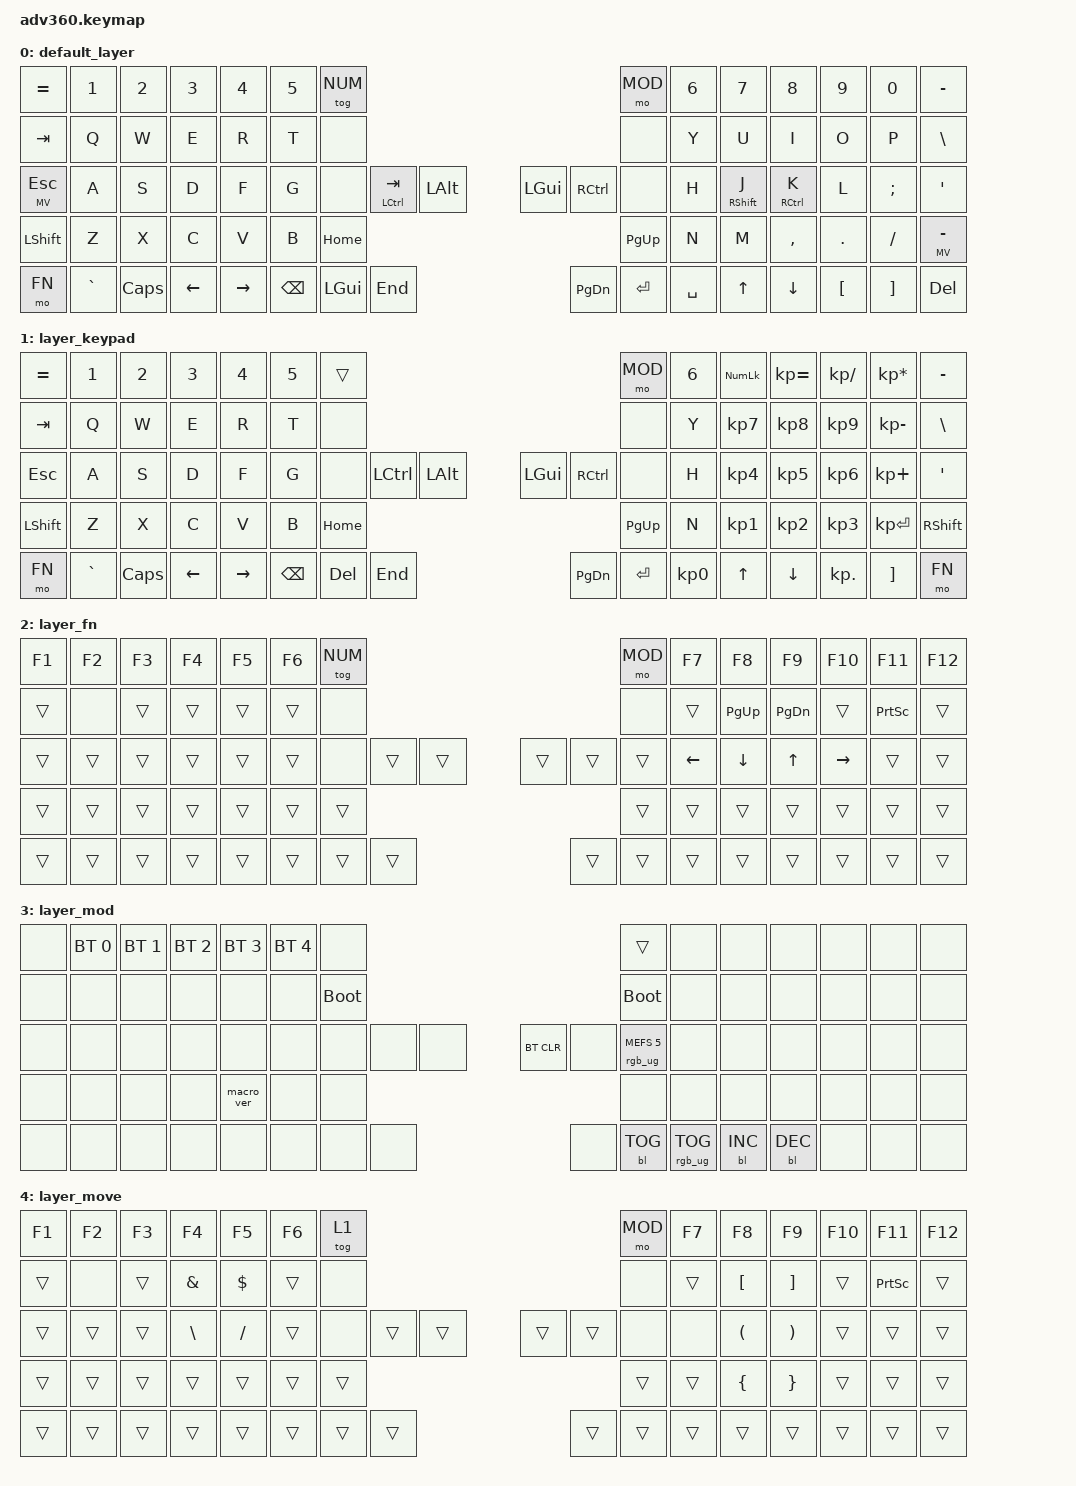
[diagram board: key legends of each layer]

/*
 * Copyright (c) 2020 The ZMK Contributors
 *
 * SPDX-License-Identifier: MIT
 */


/* THIS FILE WAS GENERATED!
 *
 * This file was generated automatically. You may or may not want to
 * edit it directly.
 */

#include <behaviors.dtsi>
#include <dt-bindings/zmk/keys.h>
#include <dt-bindings/zmk/bt.h>
#include <dt-bindings/zmk/rgb.h>
#include <dt-bindings/zmk/backlight.h>

// Configure the global tapping term (default: 200ms)
#define TAPPING_TERM 150

// Enable rapid switch from tap to hold, disables double tap hold auto-repeat.
#define QUICK_TAP_TERM 0


#define HYP(key) LG(key)
#define HYPR(key) LS(LC(LA(LG(key))))
#define SUPER  LGUI

/* Layer references  */
#define DEFAULT 0
#define NUM 1
#define FN 2
#define MOD 3
#define MV 4

// Base Layer home row mods
#define A_LGUI     &hm LGUI A
#define S_LALT     &hm LALT S
#define D_LCTRL    &hm LCTRL D
#define F_LSHFT    &hm LSHFT F
#define J_RSHFT    &hm RSHFT J
#define K_RCTRL    &hm RCTRL K
#define L_RALT     &hm RALT L
#define SEMI_RGUI  &hm RGUI SEMI

// Thumb cluster specials
#define TAB_LCTRL  &mt LCTRL TAB
#define ESC_MV     &mtkp MV ESC 
#define MIN_MV     &mtkp MV MINUS

/ {
  behaviors {
    #include "macros.dtsi"
    #include "version.dtsi"

    hm: homerow_mods {
        compatible = "zmk,behavior-hold-tap";
        label = "HOMEROW_MODS";
        #binding-cells = <2>;
        tapping-term-ms = <TAPPING_TERM>;
        quick_tap_ms = <QUICK_TAP_TERM>;
        #flavor = "tap-preferred";
        flavor = "balanced";
        bindings = <&kp>, <&kp>;
    };

    mtkp: mod_tap_key_press {
        compatible = "zmk,behavior-hold-tap";
        #binding-cells = <2>;
        tapping-term-ms = <TAPPING_TERM>;
        quick_tap_ms = <QUICK_TAP_TERM>;
        flavor = "tap-preferred";
        bindings = <&mo>, <&kp>;
    }; 
  };

  keymap {
      compatible = "zmk,keymap";

      default_layer {
          bindings = <
&kp EQUAL     &kp N1    &kp N2    &kp N3     &kp N4     &kp N5      &tog NUM                                                                   &mo MOD   &kp N6    &kp N7       &kp N8        &kp N9    &kp N0     &kp MINUS
&kp TAB       &kp Q     &kp W     &kp E      &kp R      &kp T       &none                                                                      &none     &kp Y     &kp U        &kp I         &kp O     &kp P      &kp BSLH
    ESC_MV    &kp A     &kp S     &kp D      &kp F      &kp G       &none         TAB_LCTRL  &kp LALT                   &kp LGUI   &kp RCTRL   &none     &kp H         J_RSHFT      K_RCTRL   &kp L     &kp SEMI   &kp SQT
&kp LSHFT     &kp Z     &kp X     &kp C      &kp V      &kp B                                &kp HOME                   &kp PG_UP                        &kp N     &kp M        &kp COMMA     &kp DOT   &kp FSLH       MIN_MV 
&mo FN        &kp GRAVE &kp CAPS  &kp LEFT   &kp RIGHT                &kp BSPC    &kp SUPER  &kp END                    &kp PG_DN  &kp ENTER  &kp SPACE            &kp UP       &kp DOWN      &kp LBKT  &kp RBKT   &kp DEL
          >;
      };

      layer_keypad {
          bindings = <
&kp EQUAL     &kp N1    &kp N2    &kp N3     &kp N4  &kp N5              &trans                                                                &mo MOD &kp N6  &kp KP_NUM  &kp KP_EQUAL  &kp KP_DIVIDE  &kp KP_MULTIPLY  &kp MINUS
 &kp TAB      &kp Q     &kp W     &kp E      &kp R   &kp T               &none                                                                 &none   &kp Y   &kp KP_N7     &kp KP_N8      &kp KP_N9     &kp KP_MINUS   &kp BSLH
 &kp ESC      &kp A     &kp S     &kp D      &kp F   &kp G               &none  &kp LCTRL  &kp LALT                   &kp LGUI  &kp RCTRL      &none   &kp H   &kp KP_N4     &kp KP_N5      &kp KP_N6      &kp KP_PLUS    &kp SQT
&kp LSHFT      &kp Z     &kp X     &kp C      &kp V   &kp B                                 &kp HOME                  &kp PG_UP                        &kp N   &kp KP_N1     &kp KP_N2      &kp KP_N3     &kp KP_ENTER  &kp RSHFT
  &mo FN  &kp GRAVE  &kp CAPS  &kp LEFT  &kp RIGHT                    &kp BSPC    &kp DEL   &kp END                  &kp PG_DN  &kp ENTER  &kp KP_N0              &kp UP      &kp DOWN     &kp KP_DOT         &kp RBKT     &mo FN
          >;
      };

      layer_fn {
          bindings = <
&kp F1  &kp F2  &kp F3  &kp F4  &kp F5  &kp F6          &tog NUM                                                  &mo MOD    &kp F7  &kp F8     &kp F9       &kp F10    &kp F11   &kp F12
&trans   &none  &trans  &trans  &trans  &trans             &none                                                   &none     &trans  &kp PG_UP  &kp PG_DN     &trans  &kp PSCRN    &trans 
&trans  &trans  &trans  &trans  &trans  &trans             &none  &trans  &trans                  &trans  &trans  &trans   &kp LEFT  &kp DOWN   &kp UP     &kp RIGHT     &trans    &trans   
&trans  &trans  &trans  &trans  &trans  &trans                            &trans                  &trans                     &trans  &trans     &trans        &trans     &trans    &trans
&trans  &trans  &trans  &trans  &trans                    &trans  &trans  &trans                  &trans  &trans  &trans             &trans     &trans        &trans     &trans    &trans
          >;
      };

      layer_mod {
          bindings = <
&none  &bt BT_SEL 0  &bt BT_SEL 1  &bt BT_SEL 2  &bt BT_SEL 3  &bt BT_SEL 4                  &none                                                                          &trans   &none       &none       &none   &none   &none   &none
&none         &none         &none         &none         &none         &none            &bootloader                                                                     &bootloader   &none       &none       &none   &none   &none   &none
&none         &none         &none         &none         &none         &none                  &none   &none   &none                  &bt BT_CLR       &none  &rgb_ug RGB_MEFS_CMD 5   &none       &none       &none   &none   &none   &none
&none         &none         &none         &none    &macro_ver         &none                                  &none                       &none                                       &none       &none       &none   &none   &none   &none
&none         &none         &none         &none         &none                                &none   &none   &none                       &none  &bl BL_TOG         &rgb_ug RGB_TOG          &bl BL_INC  &bl BL_DEC   &none   &none   &none
          >;
      };

      layer_move {
          bindings = <
&kp F1  &kp F2  &kp F3  &kp F4  &kp F5  &kp F6            &tog 1                                                  &mo MOD    &kp F7  &kp F8     &kp F9  &kp F10    &kp F11  &kp F12
&trans   &none  &trans  &kp AMPERSAND  &kp DOLLAR  &trans             &none                                                    &none    &trans  &kp LBKT    &kp RBKT   &trans  &kp PSCRN   &trans
&trans  &trans  &trans  &kp BACKSLASH  &kp SLASH  &trans             &none  &trans  &trans                  &trans  &trans    &none     &none  &kp LPAR   &kp RPAR   &trans     &trans   &trans
&trans  &trans  &trans  &trans  &trans  &trans                            &trans                  &trans                     &trans  &kp LBRC     &kp RBRC   &trans     &trans   &trans
&trans  &trans  &trans  &trans  &trans                    &trans  &trans  &trans                  &trans  &trans  &trans             &trans     &trans   &trans     &trans   &trans
          >;
      };
  };
};
